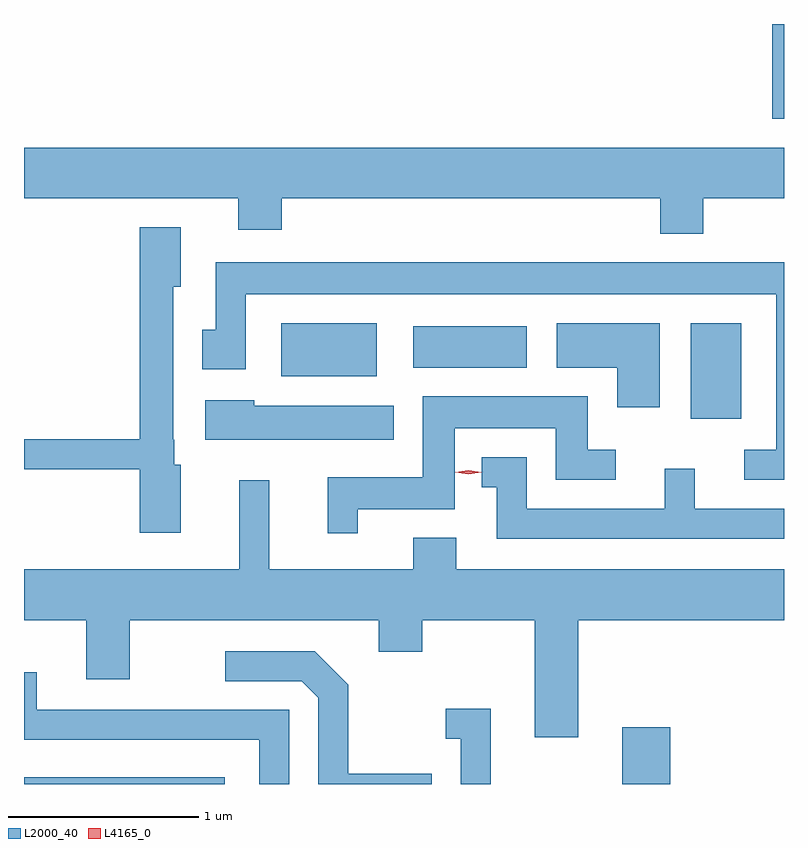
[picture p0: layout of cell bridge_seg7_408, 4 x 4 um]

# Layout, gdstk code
import gdstk
lib = gdstk.Library(unit=1e-6, precision=1e-09)
def R(c, l, rs):  # rectangles x0, y0, x1, y1
    for r in rs: c.add(gdstk.rectangle(r[:2], r[2:], *l))
def P(c, l, *ps):  # polygons
    for p in ps: c.add(gdstk.Polygon(p, *l))
L2000_40 = (2000, 40)
L4165_0 = (4165, 0)

bridge_seg7_408 = lib.new_cell('bridge_seg7_408')
R(bridge_seg7_408, L2000_40, [(1064.943,1673.494,1065.999,1673.529), (1068.091,1673.494,1068.344,1673.794), (1068.451,1675.416,1068.719,1675.919), (1066.296,1675.641,1066.799,1675.919), (1066.991,1675.686,1067.589,1675.904), (1068.881,1676.996,1068.943,1677.494)])
P(bridge_seg7_408, L2000_40, [(1068.519,1676.576),(1068.943,1676.576),(1068.943,1676.844),(1064.943,1676.844),(1064.943,1676.576),(1066.071,1676.576),(1066.071,1676.411),(1066.299,1676.411),(1066.299,1676.576),(1068.291,1676.576),(1068.291,1676.391),(1068.519,1676.391)],
  [(1065.769,1675.174),(1065.734,1675.174),(1065.734,1675.305),(1065.729,1675.305),(1065.729,1676.111),(1065.769,1676.111),(1065.769,1676.424),(1065.551,1676.424),(1065.551,1675.309),(1064.943,1675.309),(1064.943,1675.151),(1065.551,1675.151),(1065.551,1674.816),(1065.769,1674.816)],
  [(1068.943,1676.239),(1065.951,1676.239),(1065.951,1675.884),(1065.881,1675.884),(1065.881,1675.676),(1066.109,1675.676),(1066.109,1676.071),(1068.901,1676.071),(1068.901,1675.254),(1068.733,1675.254),(1068.733,1675.096),(1068.943,1675.096)],
  [(1068.289,1675.919),(1067.746,1675.919),(1067.746,1675.686),(1068.066,1675.686),(1068.066,1675.476),(1068.289,1675.476)],
  [(1066.699,1674.941),(1067.209,1674.941),(1067.209,1675.366),(1067.741,1675.366),(1067.741,1675.096),(1068.058,1675.096),(1068.058,1675.254),(1067.909,1675.254),(1067.909,1675.534),(1067.041,1675.534),(1067.041,1675.109),(1066.541,1675.109),(1066.541,1674.813),(1066.699,1674.813)],
  [(1066.889,1675.484),(1066.154,1675.484),(1066.154,1675.514),(1065.896,1675.514),(1065.896,1675.306),(1066.889,1675.306)],
  [(1068.943,1674.944),(1068.474,1674.944),(1068.474,1675.153),(1068.316,1675.153),(1068.316,1674.944),(1067.589,1674.944),(1067.589,1675.214),(1067.353,1675.214),(1067.353,1675.056),(1067.431,1675.056),(1067.431,1674.786),(1068.943,1674.786)],
  [(1067.859,1674.356),(1068.943,1674.356),(1068.943,1674.624),(1067.219,1674.624),(1067.219,1674.789),(1066.991,1674.789),(1066.991,1674.624),(1066.234,1674.624),(1066.234,1675.093),(1066.076,1675.093),(1066.076,1674.624),(1064.943,1674.624),(1064.943,1674.356),(1065.271,1674.356),(1065.271,1674.046),(1065.499,1674.046),(1065.499,1674.356),(1066.811,1674.356),(1066.811,1674.191),(1067.039,1674.191),(1067.039,1674.356),(1067.631,1674.356),(1067.631,1673.741),(1067.859,1673.741)],
  [(1067.089,1673.549),(1066.649,1673.549),(1066.649,1674.017),(1066.472,1674.194),(1066.003,1674.194),(1066.003,1674.036),(1066.404,1674.036),(1066.491,1673.949),(1066.491,1673.494),(1067.089,1673.494)],
  [(1066.339,1673.884),(1065.009,1673.884),(1065.009,1674.083),(1064.943,1674.083),(1064.943,1673.726),(1066.181,1673.726),(1066.181,1673.494),(1066.339,1673.494)],
  [(1067.399,1673.889),(1067.163,1673.889),(1067.163,1673.731),(1067.241,1673.731),(1067.241,1673.494),(1067.399,1673.494)])
P(bridge_seg7_408, L4165_0, [(1067.282,1675.125),(1067.212,1675.134),(1067.212,1675.135),(1067.212,1675.136),(1067.282,1675.145),(1067.351,1675.136),(1067.351,1675.135),(1067.351,1675.134)])

lib.write_gds('bridge_seg7_408.gds')
